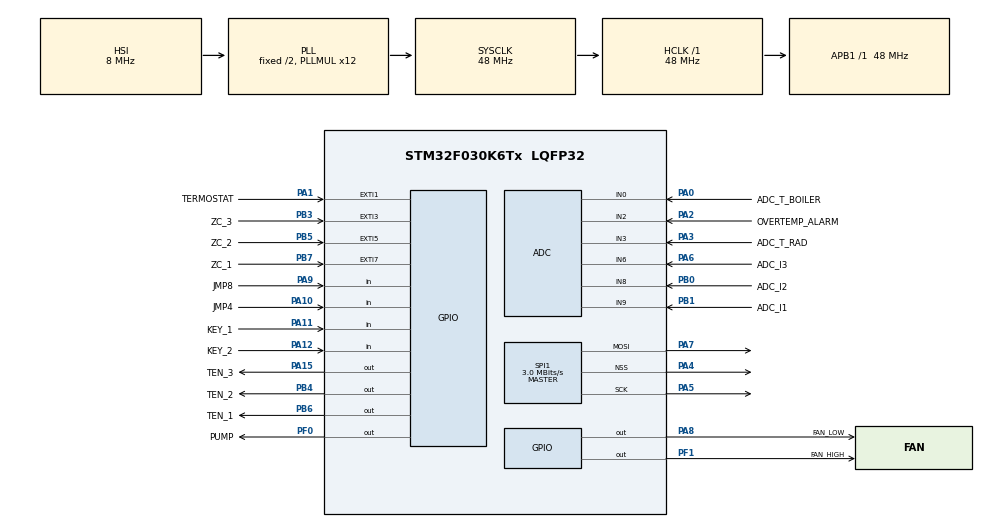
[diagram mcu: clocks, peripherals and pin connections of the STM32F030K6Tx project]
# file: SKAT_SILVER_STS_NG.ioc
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ADC.ContinuousConvMode=DISABLE
ADC.DMAContinuousRequests=ENABLE
ADC.ExternalTrigConv=ADC_SOFTWARE_START
ADC.SamplingTime=ADC_SAMPLETIME_55CYCLES_5
Dma.ADC.0.Direction=DMA_PERIPH_TO_MEMORY
Dma.ADC.0.Instance=DMA1_Channel1
Dma.ADC.0.MemDataAlignment=DMA_MDATAALIGN_HALFWORD
Dma.ADC.0.MemInc=DMA_MINC_ENABLE
Dma.ADC.0.Mode=DMA_CIRCULAR
Dma.ADC.0.PeriphDataAlignment=DMA_PDATAALIGN_HALFWORD
Dma.ADC.0.PeriphInc=DMA_PINC_DISABLE
Dma.ADC.0.Priority=DMA_PRIORITY_LOW
Dma.Request0=ADC
IWDG.Prescaler=IWDG_PRESCALER_64
IWDG.Reload=1250
IWDG.Window=1250
Mcu.Family=STM32F0
Mcu.Name=STM32F030K6Tx
Mcu.Package=LQFP32
NVIC.DMA1_Channel1_IRQn=true\:0\:0\:false\:false\:true\:false\:true\:true
NVIC.EXTI0_1_IRQn=true\:1\:0\:true\:false\:true\:true\:true\:true
NVIC.EXTI2_3_IRQn=true\:1\:0\:true\:false\:true\:true\:true\:true
NVIC.EXTI4_15_IRQn=true\:1\:0\:true\:false\:true\:true\:true\:true
PA0.GPIO_Label=ADC_T_BOILER
PA0.Mode=IN0
PA0.Signal=ADC_IN0
PA1.GPIO_Label=TERMOSTAT
PA1.GPIO_ModeDefaultEXTI=GPIO_MODE_IT_RISING_FALLING
PA1.GPIO_PuPd=GPIO_NOPULL
PA1.Signal=GPXTI1
PA10.GPIO_Label=JMP4
PA10.GPIO_PuPd=GPIO_PULLUP
PA10.Signal=GPIO_Input
PA11.GPIO_Label=KEY_1
PA11.Signal=GPIO_Input
PA12.GPIO_Label=KEY_2
PA12.Signal=GPIO_Input
PA13.Mode=Serial_Wire
PA13.Signal=SYS_SWDIO
PA14.Mode=Serial_Wire
PA14.Signal=SYS_SWCLK
PA15.GPIO_Label=TEN_3
PA15.Signal=GPIO_Output
PA2.GPIO_Label=OVERTEMP_ALARM
PA2.Mode=IN2
PA2.Signal=ADC_IN2
PA3.GPIO_Label=ADC_T_RAD
PA3.Mode=IN3
PA3.Signal=ADC_IN3
PA4.Mode=NSS_Signal_Hard_Output
PA4.Signal=SPI1_NSS
PA5.Mode=TX_Only_Simplex_Unidirect_Master
PA5.Signal=SPI1_SCK
PA6.GPIO_Label=ADC_I3
PA6.Mode=IN6
PA6.Signal=ADC_IN6
PA7.Mode=TX_Only_Simplex_Unidirect_Master
PA7.Signal=SPI1_MOSI
PA8.GPIO_Label=FAN_LOW
PA8.Signal=GPIO_Output
PA9.GPIO_Label=JMP8
PA9.GPIO_PuPd=GPIO_PULLUP
PA9.Signal=GPIO_Input
PB0.GPIO_Label=ADC_I2
PB0.Mode=IN8
PB0.Signal=ADC_IN8
PB1.GPIO_Label=ADC_I1
PB1.Mode=IN9
PB1.Signal=ADC_IN9
PB3.GPIO_Label=ZC_3
PB3.GPIO_ModeDefaultEXTI=GPIO_MODE_IT_RISING_FALLING
PB3.GPIO_PuPd=GPIO_PULLUP
PB3.Signal=GPXTI3
PB4.GPIO_Label=TEN_2
PB4.Signal=GPIO_Output
PB5.GPIO_Label=ZC_2
PB5.GPIO_ModeDefaultEXTI=GPIO_MODE_IT_RISING_FALLING
PB5.GPIO_PuPd=GPIO_PULLUP
PB5.Signal=GPXTI5
PB6.GPIO_Label=TEN_1
PB6.Signal=GPIO_Output
PB7.GPIO_Label=ZC_1
PB7.GPIO_ModeDefaultEXTI=GPIO_MODE_IT_RISING_FALLING
PB7.GPIO_PuPd=GPIO_PULLUP
PB7.Signal=GPXTI7
PF0-OSC_IN.GPIO_Label=PUMP
PF0-OSC_IN.Signal=GPIO_Output
PF1-OSC_OUT.GPIO_Label=FAN_HIGH
PF1-OSC_OUT.Signal=GPIO_Output
ProjectManager.HeapSize=0x200
ProjectManager.StackSize=0x400
ProjectManager.TargetToolchain=STM32CubeIDE
RCC.AHBFreq_Value=48000000
RCC.APB1Freq_Value=48000000
RCC.APB1TimFreq_Value=48000000
RCC.HCLKFreq_Value=48000000
RCC.PLLMUL=RCC_PLL_MUL12
RCC.SYSCLKFreq_VALUE=48000000
RCC.SYSCLKSource=RCC_SYSCLKSOURCE_PLLCLK
SPI1.BaudRatePrescaler=SPI_BAUDRATEPRESCALER_16
SPI1.CLKPolarity=SPI_POLARITY_LOW
SPI1.CalculateBaudRate=3.0 MBits/s
SPI1.DataSize=SPI_DATASIZE_16BIT
SPI1.Direction=SPI_DIRECTION_2LINES
SPI1.FirstBit=SPI_FIRSTBIT_LSB
SPI1.Mode=SPI_MODE_MASTER
SPI1.VirtualNSS=VM_NSSHARD
SPI1.VirtualType=VM_MASTER
TIM14.AutoReloadPreload=TIM_AUTORELOAD_PRELOAD_ENABLE
TIM14.Period=250
TIM14.Prescaler=4700
TIM16.AutoReloadPreload=TIM_AUTORELOAD_PRELOAD_ENABLE
TIM16.Period=250
TIM16.Prescaler=4700
TIM17.AutoReloadPreload=TIM_AUTORELOAD_PRELOAD_ENABLE
TIM17.Period=250
TIM17.Prescaler=4700
VP_ADC_Vref_Input.Mode=IN-Vrefint
VP_IWDG_VS_IWDG.Mode=IWDG_Activate
VP_TIM14_VS_ClockSourceINT.Mode=Enable_Timer
VP_TIM16_VS_ClockSourceINT.Mode=Enable_Timer
VP_TIM17_VS_ClockSourceINT.Mode=Enable_Timer
board=custom

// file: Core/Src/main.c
/* USER CODE BEGIN Header */
/**
  ******************************************************************************
  * @file           : main.c
  * @brief          : Main program body
  ******************************************************************************
  * @attention
  *
  * <h2><center>&copy; Copyright (c) 2022 STMicroelectronics.
  * All rights reserved.</center></h2>
  *
  * This software component is licensed by ST under BSD 3-Clause license,
  * the "License"; You may not use this file except in compliance with the
  * License. You may obtain a copy of the License at:
  *                        opensource.org/licenses/BSD-3-Clause
  *
  ******************************************************************************
  */
/* USER CODE END Header */
#include "main.h"
#include "adc.h"
#include "dma.h"
#include "iwdg.h"
#include "spi.h"
#include "tim.h"
#include "gpio.h"

/* USER CODE BEGIN PV */
struct sBoiler boiler = {0};
uint32_t tickstart_1sec, tickstart_adc;
uint16_t delay_counter_1ms;
uint16_t delay_counter_500ms;
uint16_t led_counter_500ms;
uint8_t ten1_output, ten2_output, ten3_output;

struct sSensor* list_of_sensors[2] = {&(boiler.heater.output.sensor), &(boiler.heatsink.sensor)};
uint8_t sensors_list_size = sizeof(list_of_sensors) / sizeof(list_of_sensors[0]);
/* USER CODE END PV */

void SystemClock_Config(void);

int main(void)
{

  /* MCU Configuration--------------------------------------------------------*/

  /* Reset of all peripherals, Initializes the Flash interface and the Systick. */
  HAL_Init();

  /* Configure the system clock */
  SystemClock_Config();

  /* Initialize all configured peripherals */
  MX_GPIO_Init();
  MX_DMA_Init();
  MX_SPI1_Init();
  MX_ADC_Init();
  MX_IWDG_Init();
  MX_TIM14_Init();
  MX_TIM16_Init();
  MX_TIM17_Init();
  /* USER CODE BEGIN 2 */
  boiler_init();
  /* USER CODE END 2 */

  /* Infinite loop */
  /* USER CODE BEGIN WHILE */
  while (1)
  {
	  adc_update();
	  adc_check();
	  if (boiler.testMode.flag == 0)
	  {
		  key_state_update();
		  user_interface_update();
		  heating_update();
		  upn_update();
	  }
	  else
		  run_test();

	  one_second_event_handler();
	  display_update();
  }
    /* USER CODE END WHILE */

}

void SystemClock_Config(void)
{
  RCC_OscInitTypeDef RCC_OscInitStruct = {0};
  RCC_ClkInitTypeDef RCC_ClkInitStruct = {0};

  /** Initializes the RCC Oscillators according to the specified parameters
  * in the RCC_OscInitTypeDef structure.
  */
  RCC_OscInitStruct.OscillatorType = RCC_OSCILLATORTYPE_HSI|RCC_OSCILLATORTYPE_HSI14
                              |RCC_OSCILLATORTYPE_LSI;
  RCC_OscInitStruct.HSIState = RCC_HSI_ON;
  RCC_OscInitStruct.HSI14State = RCC_HSI14_ON;
  RCC_OscInitStruct.HSICalibrationValue = RCC_HSICALIBRATION_DEFAULT;
  RCC_OscInitStruct.HSI14CalibrationValue = 16;
  RCC_OscInitStruct.LSIState = RCC_LSI_ON;
  RCC_OscInitStruct.PLL.PLLState = RCC_PLL_ON;
  RCC_OscInitStruct.PLL.PLLSource = RCC_PLLSOURCE_HSI;
  RCC_OscInitStruct.PLL.PLLMUL = RCC_PLL_MUL12;
  RCC_OscInitStruct.PLL.PREDIV = RCC_PREDIV_DIV1;
  if (HAL_RCC_OscConfig(&RCC_OscInitStruct) != HAL_OK)
  {
    Error_Handler();
  }

  /** Initializes the CPU, AHB and APB buses clocks
  */
  RCC_ClkInitStruct.ClockType = RCC_CLOCKTYPE_HCLK|RCC_CLOCKTYPE_SYSCLK
                              |RCC_CLOCKTYPE_PCLK1;
  RCC_ClkInitStruct.SYSCLKSource = RCC_SYSCLKSOURCE_PLLCLK;
  RCC_ClkInitStruct.AHBCLKDivider = RCC_SYSCLK_DIV1;
  RCC_ClkInitStruct.APB1CLKDivider = RCC_HCLK_DIV1;

  if (HAL_RCC_ClockConfig(&RCC_ClkInitStruct, FLASH_LATENCY_1) != HAL_OK)
  {
    Error_Handler();
  }
}

/* USER CODE BEGIN 4 */

void check_IWDG_refresh()
{
	  if((HAL_GetTick() - tickstart_1sec) < 1000)
		  return;

	  tickstart_1sec = HAL_GetTick();
	  HAL_IWDG_Refresh(&hiwdg);
}

void adc_update()
{
	if ((HAL_GetTick() - tickstart_adc) > 50)
	{
		HAL_ADC_Start_DMA(&hadc, (uint32_t*)(&boiler.adc.value), ADC_CHANNELS_NUMBER);
		tickstart_adc = HAL_GetTick();
	}
}

void adc_check()
{
	for (uint8_t j = 0; j < sensors_list_size; ++j)
			  check_if_sensor_is_broken(list_of_sensors[j]);
}

void set_e01(void) {boiler.errors |= 0x01;};
//void reset_e01(void) {boiler.errors &= ~0x01;};
uint8_t get_e01() { return (boiler.errors & 0x01) ? 1 : 0;};
void set_e02(void) {boiler.errors |= 0x02;};
void reset_e02(void) {boiler.errors &= ~0x02;};
uint8_t get_e02() { return (boiler.errors & 0x02) ? 1 : 0;};
void set_e03(void) {boiler.errors |= 0x04;};
//void reset_e03(void) {boiler.errors &= ~0x04;};
uint8_t get_e03() { return (boiler.errors & 0x04) ? 1 : 0;};
void set_e04(void) {boiler.errors |= 0x08;};
//void reset_e04(void) {boiler.errors &= ~0x08;};
uint8_t get_e04() { return (boiler.errors & 0x08) ? 1 : 0;};
void set_e05(void) {boiler.errors |= 0x10;};
void reset_e05(void) {boiler.errors &= ~0x10;};
uint8_t get_e05() { return (boiler.errors & 0x10) ? 1 : 0;};

void set_f01(void) {boiler.errors |= 0x20;};
void reset_f01(void) {boiler.errors &= ~0x20;};
uint8_t get_f01() { return (boiler.errors & 0x20) ? 1 : 0;};

void set_f02(void) {boiler.errors |= 0x40;};
void reset_f02(void) {boiler.errors &= ~0x40;};
uint8_t get_f02() { return (boiler.errors & 0x40) ? 1 : 0;};

void set_f03(void) {boiler.errors |= 0x80;};
void reset_f03(void) {boiler.errors &= ~0x80;};
uint8_t get_f03() { return (boiler.errors & 0x80) ? 1 : 0;};

void set_u01(void) {boiler.errors |= 0x100;};
void reset_u01(void) {boiler.errors &= ~0x100;};
uint8_t get_u01() { return (boiler.errors & 0x100) ? 1 : 0;};

void set_u02(void) {boiler.errors |= 0x200;};
void reset_u02(void) {boiler.errors &= ~0x200;};
uint8_t get_u02() { return (boiler.errors & 0x200) ? 1 : 0;};

void set_u03(void) {boiler.errors |= 0x400;};
void reset_u03(void) {boiler.errors &= ~0x400;};
uint8_t get_u03() { return (boiler.errors & 0x400) ? 1 : 0;};

void ten_default_initialization()
{
	  boiler.ten3.upn.signal = &(boiler.upn.phase_C.Current_Instant);
	  boiler.ten3.zero_cross = &boiler.zero_cross.phase_3;
	  boiler.ten3.physical_output = &ten3_output;

	  boiler.ten2.upn.signal = &(boiler.upn.phase_B.Current_Instant);
	  boiler.ten2.zero_cross = &boiler.zero_cross.phase_2;
	  boiler.ten2.physical_output = &ten2_output;

	  boiler.ten1.upn.signal = &(boiler.upn.phase_A.Current_Instant);
	  boiler.ten1.zero_cross = &boiler.zero_cross.phase_1;
	  boiler.ten1.physical_output = &ten1_output;
}

void check_if_sensor_is_broken(struct sSensor* sensor_ptr)
{
	if((*sensor_ptr).tC_Instant == 250)
	{
		if((*sensor_ptr).counter_alarm < ALARM_COUNTER_MAX)	(*sensor_ptr).counter_alarm ++;
		else												(*sensor_ptr).Flag_Enable = 0;
	}
	else
	{
		if((*sensor_ptr).counter_alarm)	(*sensor_ptr).counter_alarm --;
		else							(*sensor_ptr).Flag_Enable = 1;
	}
}

void init_param_from_eeprom()
{
	uint32_t data = eeprom_read_setting(FLASH_PAGE_ADDR_31);
	boiler.parameters.boiler_type = (uint8_t)data;
	data = data >> 8;
	boiler.heater.parameters.aim_temp = (uint8_t)data;

	if((boiler.heater.parameters.aim_temp < SetTC_MIN) || (boiler.heater.parameters.aim_temp > SetTC_MAX))
	{
		boiler.heater.parameters.aim_temp = SetTC_DEFAULT;
		eeprom_write_setting(boiler.heater.parameters.aim_temp << 8 | boiler.parameters.boiler_type, FLASH_PAGE_ADDR_31);
	}

	if(boiler.parameters.boiler_type > 2)
	{
		boiler.parameters.boiler_type = 2;
		eeprom_write_setting(boiler.heater.parameters.aim_temp << 8 | boiler.parameters.boiler_type, FLASH_PAGE_ADDR_31);
	}
}

void boiler_init()
{
	HAL_ADC_MspInit(&hadc);
	HAL_ADCEx_Calibration_Start(&hadc);
	HAL_ADC_Start_DMA(&hadc, (uint32_t*)(&boiler.adc.value), ADC_CHANNELS_NUMBER);
	LL_SPI_Enable(SPI1);

	HAL_TIM_Base_Start_IT(&htim14);
	HAL_TIM_Base_Start_IT(&htim16);
	HAL_TIM_Base_Start_IT(&htim17);

	ten_default_initialization();
	init_param_from_eeprom();

	boiler.display.value_to_show = 1;

	boiler.parameters.user_interface_step = 0;
	boiler.display.counter = 0;

	boiler.heater.output.sensor.tC_Average = 25;
	boiler.heatsink.sensor.tC_Average = 25;

	boiler.errors = 0;

	boiler.adc.Vref_Const = (uint16_t)(*(__IO uint32_t*)(0x1FFFF7BA));

	boiler.termostat.value = HAL_GPIO_ReadPin(TERMOSTAT_GPIO_Port, TERMOSTAT_Pin);
	tickstart_1sec = HAL_GetTick();
	tickstart_adc = HAL_GetTick();

	if ((HAL_GPIO_ReadPin(JMP4_GPIO_Port, JMP4_Pin) == 0) && (HAL_GPIO_ReadPin(JMP8_GPIO_Port, JMP8_Pin) == 0))
	{
		boiler.testMode.flag = 1;
		display_print_text('-', '-', '-');
		boiler.parameters.user_interface_step = 100;
		delay_counter_1ms = 3000;
	}
}

/* USER CODE END 4 */

void Error_Handler(void)
{
  __disable_irq();
  while (1)
  {
  }
}
